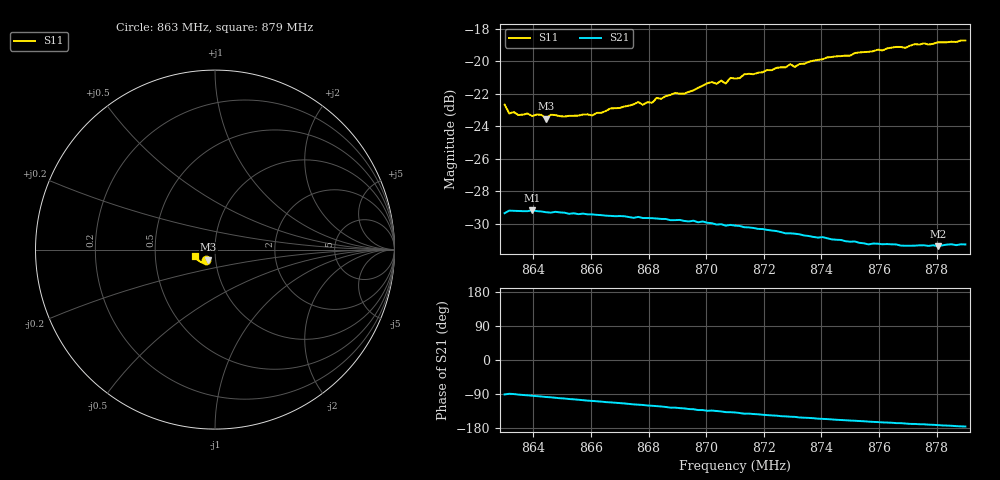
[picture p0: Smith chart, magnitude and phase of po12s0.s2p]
# HZ S RI R 50
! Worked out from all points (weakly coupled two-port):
!   101 points, 863 MHz to 879 MHz, reference 50 ohm
!   highest |S21| = -29.17 dB at 863.96 MHz (marker M1); lowest = -31.4 dB at 878.04 MHz (marker M2)
!   lowest |S11| = -23.5 dB at 864.44 MHz (marker M3), VSWR 1.14, Z = 46.2 - j5.15 ohm
!   |S11| at or under -10 dB: start of sweep to end of sweep
!   S12 and S22 are empty: the file has one direction only
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8.63e8  -0.0482 -0.0555  -0.000527 -0.0341  0 0  0 0
8.6316e8  -0.0427 -0.0542  0.00048 -0.0347  0 0  0 0
8.6396e8  -0.0393 -0.0553  -0.00261 -0.0347  0 0  0 0
8.6428e8  -0.0381 -0.0568  -0.00383 -0.0343  0 0  0 0
8.6444e8  -0.0369 -0.0555  -0.00456 -0.034  0 0  0 0
8.646e8  -0.0381 -0.0569  -0.00501 -0.0339  0 0  0 0
8.6572e8  -0.0347 -0.0591  -0.00936 -0.0327  0 0  0 0
8.6604e8  -0.0335 -0.0593  -0.0104 -0.0322  0 0  0 0
8.6668e8  -0.0344 -0.0628  -0.0124 -0.0311  0 0  0 0
8.678e8  -0.0359 -0.064  -0.0158 -0.0289  0 0  0 0
8.6844e8  -0.0379 -0.0667  -0.0177 -0.0276  0 0  0 0
8.6892e8  -0.0393 -0.0696  -0.0189 -0.0264  0 0  0 0
8.6924e8  -0.0409 -0.0682  -0.0197 -0.0255  0 0  0 0
8.7004e8  -0.0448 -0.0729  -0.0222 -0.0229  0 0  0 0
8.7052e8  -0.0476 -0.073  -0.0226 -0.022  0 0  0 0
8.7068e8  -0.0465 -0.0717  -0.023 -0.021  0 0  0 0
8.7084e8  -0.0498 -0.0736  -0.0232 -0.0211  0 0  0 0
8.71e8  -0.0497 -0.0732  -0.0234 -0.0207  0 0  0 0
8.7372e8  -0.0687 -0.0732  -0.0258 -0.0128  0 0  0 0
8.7644e8  -0.092 -0.0606  -0.0265 -0.0068  0 0  0 0
8.7804e8  -0.1033 -0.0489  -0.0267 -0.00388  0 0  0 0
8.79e8  -0.1093 -0.0383  -0.0272 -0.00211  0 0  0 0
